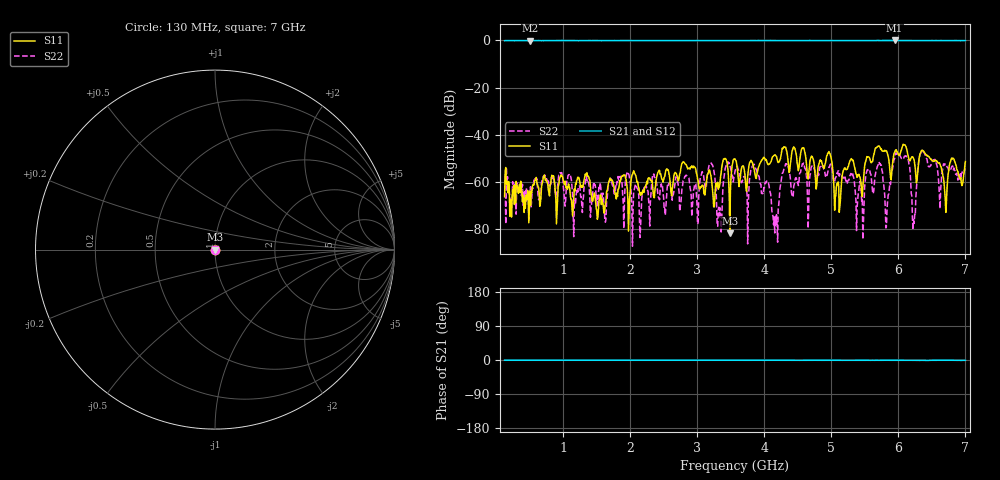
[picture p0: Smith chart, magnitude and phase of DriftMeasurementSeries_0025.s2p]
# Hz S RI R 50.000000
! Metas.Vna.Tools, 2.8.8664.20301
! Metas.Vna.Data, 2.8.8664.20285
! Created: UTC 2024.02.11 10:08:13
! FREQ  re:S1,1  im:S1,1  re:S2,1  im:S2,1  re:S1,2  im:S1,2  re:S2,2  im:S2,2
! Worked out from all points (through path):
!   801 points, 130 MHz to 7 GHz, reference 50 ohm
!   highest |S21| = -0.02 dB at 5.944 GHz (marker M1); lowest = -0.1 dB at 507.9 MHz (marker M2)
!   lowest |S11| = -82.0 dB at 3.488 GHz (marker M3), VSWR 1.00, Z = 50 + j0.00749 ohm
!   |S11| at or under -10 dB: start of sweep to end of sweep
!   |S22| runs from -87.4 to -46.7 dB; largest |S21 - S12| = 0.018
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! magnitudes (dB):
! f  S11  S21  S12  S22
! 130 MHz  -66.4  -0.1  0.0  -57.8
! 507.9 MHz  -64.0  -0.1  0.0  -65.2
! 1.281 GHz  -61.6  -0.1  0.0  -70.0
! 2.423 GHz  -55.7  -0.1  0.0  -66.7
! 3.213 GHz  -58.8  -0.1  0.0  -52.1
! 3.333 GHz  -62.1  -0.1  0.0  -74.4
! 3.488 GHz  -82.0  -0.1  0.0  -53.2
! 3.565 GHz  -50.3  -0.1  0.0  -55.6
! 3.857 GHz  -55.8  0.0  0.0  -53.0
! 4.166 GHz  -48.7  -0.1  0.0  -74.9
! 4.312 GHz  -45.4  -0.1  0.0  -53.3
! 4.716 GHz  -49.3  -0.1  0.0  -53.2
! 4.973 GHz  -47.8  -0.1  0.0  -53.8
! 5.085 GHz  -60.8  -0.1  0.0  -56.3
! 5.72 GHz  -45.1  -0.1  0.0  -52.4
! 5.858 GHz  -50.6  0.0  0.0  -65.2
! 5.944 GHz  -47.7  0.0  0.0  -50.2
! 6.133 GHz  -47.1  0.0  0.0  -49.6
! 6.227 GHz  -50.1  -0.1  0.0  -76.2
! 6.356 GHz  -46.6  -0.1  0.0  -46.8
! 6.699 GHz  -67.2  -0.1  0.0  -52.4
! 7 GHz  -51.5  -0.1  0.0  -54.8
